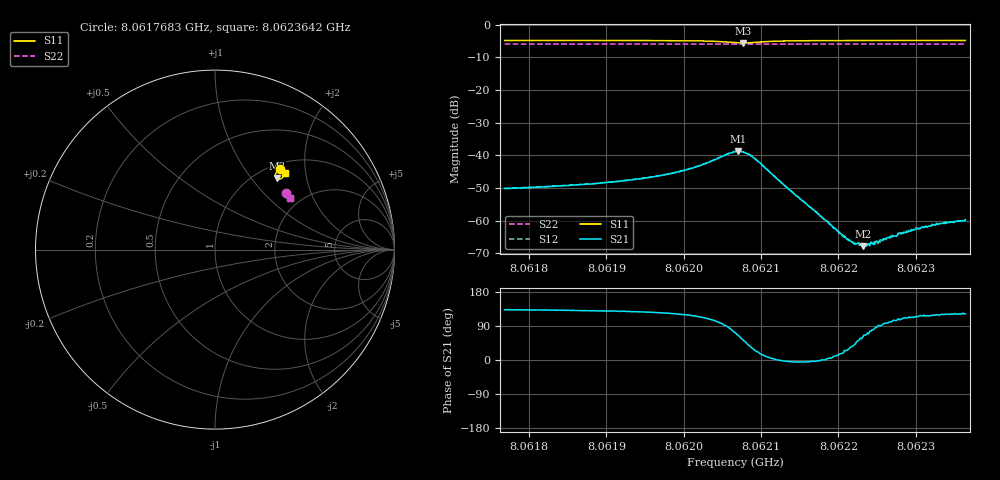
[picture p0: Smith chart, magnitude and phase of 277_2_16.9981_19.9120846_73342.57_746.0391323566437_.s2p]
#  HZ  S  RI  R  50.00
! Rohde & Schwarz Vector Network Analyzer
! Rohde-Schwarz,ZNB20-2Port,1311601062101988,3.16
! Created: UTC 3/20/2024, 11:04:26 PM
! freq[Hz]  re:S11  im:S11  re:S21  im:S21  re:S12  im:S12  re:S22  im:S22
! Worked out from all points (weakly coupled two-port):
!   401 points, 8.0617683 GHz to 8.0623642 GHz, reference 50 ohm
!   highest |S21| = -38.74 dB at 8.0620707 GHz (marker M1); lowest = -67.8 dB at 8.0622316 GHz (marker M2)
!   lowest |S11| = -5.6 dB at 8.0620766 GHz (marker M3), VSWR 3.23, Z = 61.2 + j67.7 ohm
!   |S11| at or under -10 dB: nowhere
!   |S22| runs from -5.9 to -5.9 dB; largest |S21 - S12| = 0.00089
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8.06176825e9  0.3621 0.4477  -0.00211 0.0023  -0.002 0.00241  0.3978 0.3156
8.06186807e9  0.3693 0.4415  -0.00231 0.00273  -0.00219 0.00288  0.4016 0.3107
8.06191425e9  0.3728 0.4379  -0.00248 0.00309  -0.00236 0.00328  0.4033 0.3084
8.06196789e9  0.3775 0.4317  -0.00279 0.00398  -0.00254 0.0042  0.4053 0.3056
8.06201407e9  0.3819 0.4212  -0.0029 0.00589  -0.00257 0.00611  0.4069 0.3028
8.06206621e9  0.3595 0.3935  0.00342 0.0108  0.00415 0.0107  0.4071 0.2996
8.06207068e9  0.3526 0.3946  0.00494 0.0104  0.00575 0.0101  0.4071 0.2993
8.06207664e9  0.3441 0.3994  0.0068 0.00897  0.00738 0.00853  0.4067 0.2994
8.06209154e9  0.3366 0.42  0.00806 0.00399  0.00837 0.00349  0.4073 0.2999
8.06213027e9  0.3567 0.4394  0.00344 -0.000168  0.00342 -0.000364  0.4097 0.2986
8.06216603e9  0.3673 0.4384  0.0015 -7.36e-05  0.00152 -0.000211  0.4115 0.2967
8.06220923e9  0.3742 0.4357  0.000501 0.000225  0.00052 0.000212  0.4132 0.2945
8.06222115e9  0.3757 0.4348  0.00033 0.000284  0.00035 0.000263  0.4137 0.2938
8.06223158e9  0.3768 0.4342  0.000196 0.000355  0.000247 0.000355  0.4141 0.2931
8.0622435e9  0.378 0.4335  7.9e-05 0.000439  0.000122 0.000448  0.4145 0.2927
8.06225095e9  0.3789 0.433  -2.73e-06 0.000468  5.3e-05 0.000444  0.4148 0.2921
8.0622584e9  0.3796 0.4325  -5.01e-05 0.000512  -6.81e-06 0.000526  0.4149 0.2918
8.06226585e9  0.38 0.4319  -9.85e-05 0.000531  -0.000109 0.000536  0.4154 0.2912
8.06228372e9  0.3816 0.4309  -0.000227 0.000606  -0.000158 0.000626  0.4158 0.2904
8.0623165e9  0.3842 0.4289  -0.000368 0.000729  -0.000332 0.000736  0.417 0.2888
8.06232395e9  0.3848 0.4286  -0.00041 0.000772  -0.000379 0.000797  0.4174 0.2885
8.06236417e9  0.3877 0.4262  -0.000549 0.000878  -0.00049 0.000897  0.4186 0.2862
